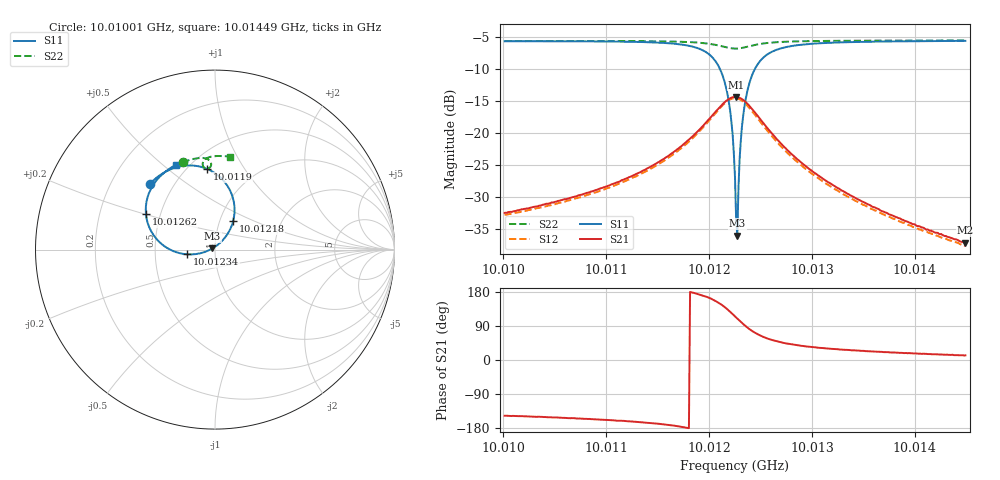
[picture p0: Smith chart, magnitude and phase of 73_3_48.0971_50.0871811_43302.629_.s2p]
#  HZ  S  RI  R  50.00
! Rohde & Schwarz Vector Network Analyzer
! Rohde-Schwarz,ZNB20-2Port,1311601062101988,3.16
! Created: UTC 12/23/2023, 3:42:00 AM
! freq[Hz]  re:S11  im:S11  re:S21  im:S21  re:S12  im:S12  re:S22  im:S22
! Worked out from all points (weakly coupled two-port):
!   401 points, 10.01001 GHz to 10.01449 GHz, reference 50 ohm
!   highest |S21| = -14.39 dB at 10.01226 GHz (marker M1); lowest = -37.1 dB at 10.01449 GHz (marker M2)
!   lowest |S11| = -36.0 dB at 10.01227 GHz (marker M3), VSWR 1.03, Z = 48.6 + j0.603 ohm
!   |S11| at or under -10 dB: 10.0121 GHz to 10.01245 GHz (343.1 kHz wide, 0.00343 % of centre)
!   |S22| runs from -6.9 to -5.6 dB; largest |S21 - S12| = 0.0091
!   S11 on the Smith chart (normalised r, x): 10.01001 GHz: 0.37, +0.37; 10.0119 GHz: 0.62, +0.70; 10.01218 GHz: 1.16, +0.38; 10.01234 GHz: 0.73, -0.04; 10.01262 GHz: 0.42, +0.20; 10.01449 GHz: 0.43, +0.56
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1.0010011e10  -0.3644 0.366  -0.02 -0.013  -0.0185 -0.0136  -0.1807 0.4862
1.0010762e10  -0.3086 0.4132  -0.0299 -0.0141  -0.0281 -0.0149  -0.1321 0.5022
1.0011512e10  -0.2004 0.4625  -0.0583 -0.0119  -0.0556 -0.0143  -0.0762 0.5108
1.0011905e10  -0.0441 0.4497  -0.105 0.0128  -0.1025 0.00681  -0.0379 0.5021
1.0012084e10  0.0841 0.3289  -0.1352 0.0711  -0.1356 0.0624  -0.0215 0.48
1.001214e10  0.1079 0.2436  -0.1345 0.1044  -0.1361 0.0961  -0.022 0.4687
1.0012185e10  0.1013 0.1589  -0.1223 0.1351  -0.125 0.1272  -0.0268 0.4595
1.0012218e10  0.0736 0.0931  -0.1045 0.1565  -0.1089 0.1486  -0.0331 0.454
1.0012229e10  0.0609 0.0738  -0.0978 0.1625  -0.102 0.1548  -0.0356 0.4528
1.0012252e10  0.0268 0.0362  -0.0811 0.1726  -0.0857 0.1654  -0.0411 0.4513
1.0012263e10  0.00653 0.0201  -0.0719 0.1767  -0.0764 0.1697  -0.0443 0.4509
1.0012274e10  -0.0146 0.00621  -0.0628 0.1795  -0.0671 0.1729  -0.0471 0.451
1.0012285e10  -0.0366 -0.00502  -0.0538 0.1813  -0.0575 0.175  -0.05 0.4515
1.0012308e10  -0.0832 -0.0207  -0.0351 0.1825  -0.039 0.1763  -0.0552 0.4535
1.0012319e10  -0.1083 -0.0251  -0.0253 0.1818  -0.0297 0.1755  -0.0579 0.4551
1.0012341e10  -0.154 -0.0265  -0.0079 0.1777  -0.0129 0.1718  -0.0621 0.4585
1.0012386e10  -0.2351 -0.00711  0.0209 0.163  0.0154 0.1576  -0.0674 0.4673
1.0012442e10  -0.3082 0.0408  0.0436 0.1388  0.0374 0.1345  -0.0688 0.4786
1.0012622e10  -0.3846 0.1968  0.0594 0.0763  0.0541 0.0746  -0.0558 0.5026
1.0013003e10  -0.3531 0.3457  0.0417 0.0284  0.0384 0.0288  -0.0207 0.5181
1.0013753e10  -0.2749 0.4353  0.0218 0.00794  0.0204 0.00882  0.036 0.5215
1.0014493e10  -0.2146 0.4739  0.0137 0.00297  0.0127 0.00353  0.086 0.517
